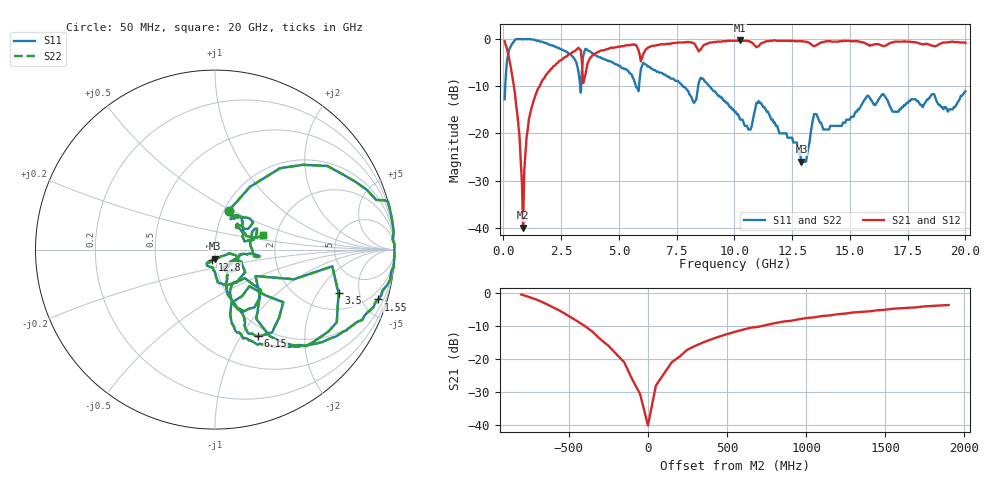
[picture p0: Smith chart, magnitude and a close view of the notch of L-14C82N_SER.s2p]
# MHZ S MA R 50
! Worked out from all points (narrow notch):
!   400 points, 50 MHz to 20 GHz, reference 50 ohm
!   highest |S21| = -0.26 dB at 10.25 GHz (marker M1); lowest = -40.0 dB at 850 MHz (marker M2)
!   notch at M2: 39.0 dB deep, 320 MHz wide at half that depth
!   lowest |S11| = -26.0 dB at 12.9 GHz (marker M3), VSWR 1.11, Z = 49.5 - j4.96 ohm
!   |S11| at or under -10 dB: 5.739 GHz to 5.87 GHz (130.7 MHz wide, 2.25 % of centre); 7.769 GHz to 8.431 GHz (662.7 MHz wide, 8.18 % of centre); 8.919 GHz to end of sweep (the widest 3 of 5)
!   |S22| runs from -26.0 to 0.0 dB; largest |S21 - S12| = 0
!   S11 on the Smith chart (normalised r, x): 50 MHz: 1.05, +0.48; 1.55 GHz: 1.14, -6.50; 3.5 GHz: 2.98, -3.11; 6.15 GHz: 0.87, -1.19; 12.8 GHz: 0.96, -0.11; 20 GHz: 1.70, +0.30
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50  0.23 70.5  0.95 -11.6  0.95 -11.6  0.23 70.5
250  0.78 36.7  0.61 -49.2  0.61 -49.2  0.78 36.7
600  1 13.3  0.16 -78.3  0.16 -78.3  1 13.3
850  0.99 3.4  0.01 57.5  0.01 57.5  0.99 3.4
900  1 1.8  0.04 68.9  0.04 68.9  1 1.8
1000  1 -1.4  0.09 80.0  0.09 80.0  1 -1.4
1550  0.95 -17.0  0.31 68.2  0.31 68.2  0.95 -17.0
3000  0.65 -53.1  0.73 36.0  0.73 36.0  0.65 -53.1
3400  0.47 -20.6  0.55 1.5  0.55 1.5  0.47 -20.6
3500  0.73 -19.5  0.38 21.6  0.38 21.6  0.73 -19.5
4250  0.63 -59.0  0.76 33.4  0.76 33.4  0.63 -59.0
5850  0.28 -46.7  0.76 2.7  0.76 2.7  0.28 -46.7
6150  0.54 -63.5  0.77 23.3  0.77 23.3  0.54 -63.5
6700  0.45 -68.2  0.87 16.0  0.87 16.0  0.45 -68.2
10050  0.17 -66.8  0.96 -3.5  0.96 -3.5  0.17 -66.8
10250  0.14 -62.3  0.97 -5.1  0.97 -5.1  0.14 -62.3
11050  0.22 -56.9  0.84 -3.6  0.84 -3.6  0.22 -56.9
12800  0.06 -105.9  0.95 -14.6  0.95 -14.6  0.06 -105.9
12900  0.05 -92.9  0.95 -15.3  0.95 -15.3  0.05 -92.9
13350  0.12 -15.3  0.87 -18.3  0.87 -18.3  0.12 -15.3
16700  0.2 14.8  0.9 -22.4  0.9 -22.4  0.2 14.8
20000  0.28 17.1  0.91 -41.5  0.91 -41.5  0.28 17.1
